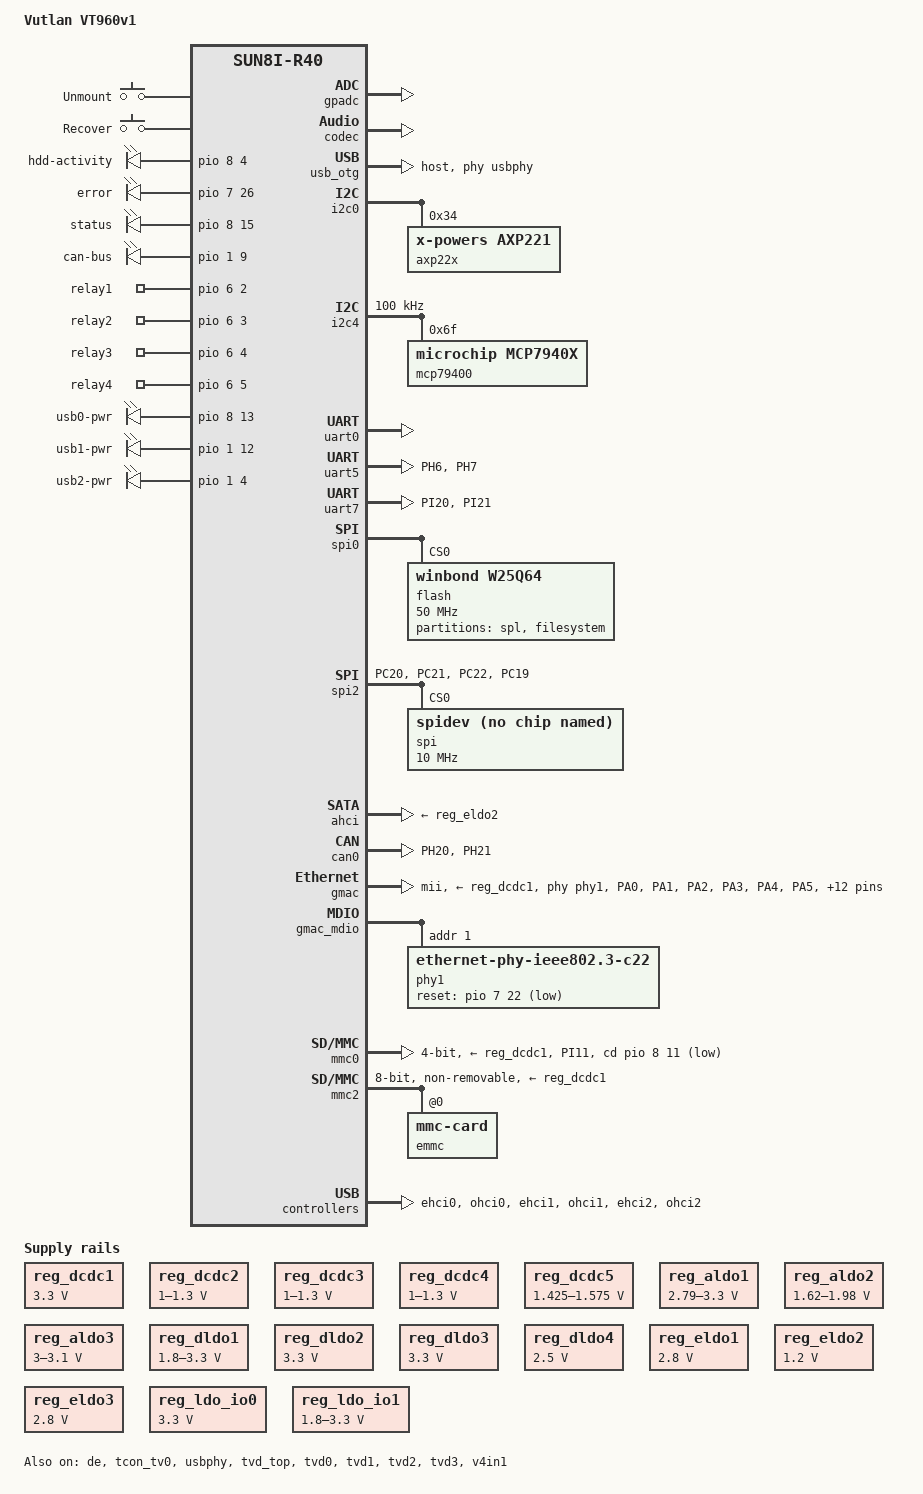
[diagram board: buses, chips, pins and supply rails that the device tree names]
/*
 * Copyright (C) 2017 Icenowy Zheng <icenowy@aosc.io>
 *
 * This file is dual-licensed: you can use it either under the terms
 * of the GPL or the X11 license, at your option. Note that this dual
 * licensing only applies to this file, and not this project as a
 * whole.
 *
 *  a) This file is free software; you can redistribute it and/or
 *     modify it under the terms of the GNU General Public License as
 *     published by the Free Software Foundation; either version 2 of the
 *     License, or (at your option) any later version.
 *
 *     This file is distributed in the hope that it will be useful,
 *     but WITHOUT ANY WARRANTY; without even the implied warranty of
 *     MERCHANTABILITY or FITNESS FOR A PARTICULAR PURPOSE.  See the
 *     GNU General Public License for more details.
 *
 * Or, alternatively,
 *
 *  b) Permission is hereby granted, free of charge, to any person
 *     obtaining a copy of this software and associated documentation
 *     files (the "Software"), to deal in the Software without
 *     restriction, including without limitation the rights to use,
 *     copy, modify, merge, publish, distribute, sublicense, and/or
 *     sell copies of the Software, and to permit persons to whom the
 *     Software is furnished to do so, subject to the following
 *     conditions:
 *
 *     The above copyright notice and this permission notice shall be
 *     included in all copies or substantial portions of the Software.
 *
 *     THE SOFTWARE IS PROVIDED "AS IS", WITHOUT WARRANTY OF ANY KIND,
 *     EXPRESS OR IMPLIED, INCLUDING BUT NOT LIMITED TO THE WARRANTIES
 *     OF MERCHANTABILITY, FITNESS FOR A PARTICULAR PURPOSE AND
 *     NONINFRINGEMENT. IN NO EVENT SHALL THE AUTHORS OR COPYRIGHT
 *     HOLDERS BE LIABLE FOR ANY CLAIM, DAMAGES OR OTHER LIABILITY,
 *     WHETHER IN AN ACTION OF CONTRACT, TORT OR OTHERWISE, ARISING
 *     FROM, OUT OF OR IN CONNECTION WITH THE SOFTWARE OR THE USE OR
 *     OTHER DEALINGS IN THE SOFTWARE.
 */

/dts-v1/;
#include "sun8i-r40.dtsi"

#include <dt-bindings/gpio/gpio.h>
#include <dt-bindings/input/input.h>

/ {
	model = "Vutlan VT960v1";
	compatible = "vutlan,vt960v1", "allwinner,sun8i-r40";

	aliases {
		ethernet0 = &gmac;
		serial0 = &uart0;
	};

	chosen {
		stdout-path = "serial0:115200n8";
	};
	
	gpadc: gpadc@1c25000 {
		compatible = "allwinner,sun8i-r40-gpadc4ch";
		reg = <0x01c25000 0x400>;
		clocks = <&ccu CLK_BUS_TS>, <&ccu CLK_TS>, <&ccu CLK_DRAM_TS>;
		resets = <&ccu RST_BUS_TS>;
		interrupts = <GIC_SPI 29 IRQ_TYPE_LEVEL_HIGH>;
		status = "okay";
	};
	
	reserved-memory {
		#address-cells = <1>;
		#size-cells = <1>;
		ranges;
		/* Address must be kept in the lower 256 MiBs of DRAM for VE. */
		default-pool {
			compatible = "shared-dma-pool";
			size = <0x6000000>;
			alloc-ranges = <0x4a000000 0x6000000>;
			reusable;
			linux,cma-default;
		};
		/* memory region for cedar video codec */
		ve_reserved: cma@0x50000000 {
			compatible = "shared-dma-pool";
			size = <0x5000000>;
			alloc-ranges = <0x50000000 0x5000000>;  /* 80M */
			reusable;
		};
	};
	
	/*
	ve: ve@01c0e000 {
		compatible = "allwinner,sunxi-cedar-ve";
		reg = <0x0 0x01c0e000 0x0 0x1000>,
		      <0x0 0x01c00000 0x0 0x10>,
		      <0x0 0x01c20000 0x0 0x800>;
		interrupts = <GIC_SPI 53 4>;
		clocks = <&clk_pll_ve>,
			 <&clk_ve>;

	};*/
	/*
	ve: video-engine@01c0e000 {
		compatible = "allwinner,sunxi-cedar";
		reg = <0x01c0e000 0x1000>;
		memory-region = <&ve_reserved>;

		clocks = <&ccu CLK_BUS_VE>, <&ccu CLK_VE>,
			<&ccu CLK_DRAM_VE>;
		clock-names = "ahb", "mod", "ram";
		assigned-clocks = <&ccu CLK_VE>;
		assigned-clock-rates = <320000000>;

		resets = <&ccu RST_BUS_VE>;
		interrupts = <GIC_SPI 53 IRQ_TYPE_LEVEL_HIGH>;			
	};*/
	
	tvd_top: tvd-top@01c30000 {
		compatible = "allwinner,sunxi-tvd";
		reg = <0x01c30000 0x800>;
		clocks = <&ccu CLK_BUS_TVD_TOP>, <&ccu CLK_DRAM_TVD>;
		resets = <&ccu RST_BUS_TVD_TOP>;
		interrupts = <GIC_SPI 61 0x0104>;
		tvd-number = <1>;
		tvds = <&tvd0>;
		status = "okay";			
	};	
	tvd0: tvd0@01c31000 {
		compatible = "allwinner,sunxi-tvd0";
		reg = <0x01c31000 0x1000>;
		interrupts = <GIC_SPI 97 0x0104>;
		clocks = <&ccu CLK_TVD0>, <&ccu CLK_BUS_TVD0>;
		resets = <&ccu RST_BUS_TVD0>;
		tvd_used = <1>;
		tvd_if = <0>;
		status = "okay";
	};
	tvd1: tvd1@01c32000 {
		compatible = "allwinner,sunxi-tvd1";
		reg = <0x01c32000 0x1000>;
		interrupts = <GIC_SPI 98 0x0104>;
		clocks = <&ccu CLK_TVD1>, <&ccu CLK_BUS_TVD1>;
		resets = <&ccu RST_BUS_TVD1>;
		tvd_used = <1>;
		tvd_if = <0>;
		status = "okay";
	};
	tvd2: tvd2@01c33000 {
		compatible = "allwinner,sunxi-tvd2";
		reg = <0x01c33000 0x1000>;
		interrupts = <GIC_SPI 99 0x0104>;
		clocks = <&ccu CLK_TVD2>, <&ccu CLK_BUS_TVD2>;
		resets = <&ccu RST_BUS_TVD2>;
		tvd_used = <1>;
		tvd_if = <0>;
		status = "okay";
	};
	tvd3: tvd3@01c34000 {
		compatible = "allwinner,sunxi-tvd3";
		reg = <0x01c34000 0x1000>;
		interrupts = <GIC_SPI 100 0x0104>;
		clocks = <&ccu CLK_TVD3>, <&ccu CLK_BUS_TVD3>;
		resets = <&ccu RST_BUS_TVD3>;
		tvd_used = <1>;
		tvd_if = <0>;
		status = "okay";
	};
	
	v4in1: v4in1@01c30000 {
		compatible = "allwinner,sunxi-v4in1";
		reg = <0x01c30000 0x01000>,/*tvd top*/
			  <0x01c31000 0x01000>,/*tvd0*/
			  <0x01c32000 0x01000>,/*tvd1*/
			  <0x01c33000 0x01000>,/*tvd2*/
			  <0x01c34000 0x01000>;/*tvd3*/
		clocks = <&ccu CLK_BUS_TVD_TOP>, <&ccu CLK_DRAM_TVD>,
				<&ccu CLK_TVD0>, <&ccu CLK_TVD1>, <&ccu CLK_TVD2>, <&ccu CLK_TVD3>;
		resets = <&ccu RST_BUS_TVD_TOP>,
				<&ccu RST_BUS_TVD0>, <&ccu RST_BUS_TVD1>, <&ccu RST_BUS_TVD2>, <&ccu RST_BUS_TVD3>;		
		interrupts = <GIC_SPI 97 0x0104>;
		status = "okay";
	};

	codec: codec@1c22c00 {
		#sound-dai-cells = <0>;
		compatible = "allwinner,sun8i-r40-codec";
		reg = <0x01c22c00 0x300>;
		interrupts = <GIC_SPI 30 IRQ_TYPE_LEVEL_HIGH>;
		clocks = <&ccu CLK_BUS_CODEC>, <&ccu CLK_AC_DIG>; 
		clock-names = "apb", "codec";
		resets = <&ccu RST_BUS_CODEC>;
		dmas = <&dma 19>, <&dma 19>;
		dma-names = "rx", "tx";
		status = "okay";

		allwinner,audio-routing =
			"Headphone", "HP",
			"Headphone", "HPCOM",
			"MIC1", "Mic",
			"MIC2", "Mic",
			"Mic",  "MBIAS",
			"LINEIN", "Line In";		
		allwinner,codec-analog-controls = <&codec_analog>;
	};	
	codec_analog: codec-analog@1c22f00 {
		compatible = "allwinner,sun8i-r40-codec-analog";
		reg = <0x01c22f00 0x4>;
	};

		/* bsp 4.4 */
//	codec:codec@0x01c22c00 {
//		compatible = "allwinner,sunxi-internal-codec";
//		reg = <0x01c22c00 0x2bc>,/*digital baseadress*/
//		      <0x01c22f00 0x4>;/*analog baseadress*/
//		clocks = <&clk_pll_audio>,<&clk_adda>;
//		headphonevol =  <0x3b>;
//		spkervol =  <0x1b>;
//		maingain =  <0x4>;
//		hp_dirused = <0x0>;
//		pa_sleep_time = <0x15e>;
//		status = "okay";
//	};

	lradc: lradc@1c24400 {
		compatible = "allwinner,sun4i-a10-lradc-keys";
		reg = <0x01c24400 0x100>;
		interrupts = <GIC_SPI 31 IRQ_TYPE_LEVEL_HIGH>;
		vref-supply = <&reg_aldo3>;
		status = "okay";
			
		button-248 {
			label = "Unmount";
			linux,code = <KEY_VOLUMEDOWN>;
			channel = <0>;
			voltage = <190476>;	/* 248211*2/3 */
		};	
		button-1169 {
			label = "Recover";
			linux,code = <KEY_ESC>;
			channel = <0>;
			voltage = <1111111>; /* 1169727*2/3 */
		};
	};

	usb_otg: usb@1c13000 {
		compatible = "allwinner,sun8i-r40-musb";
		reg = <0x01c13000 0x0400>;
		clocks = <&ccu CLK_BUS_OTG>;
		resets = <&ccu RST_BUS_OTG>;
		interrupts = <GIC_SPI 38 IRQ_TYPE_LEVEL_HIGH>;
		interrupt-names = "mc";
		phys = <&usbphy 0>;
		phy-names = "usb";
		extcon = <&usbphy 0>;
		allwinner,sram = <&otg_sram 1>;
		status = "disabled";
	};

	leds {
		compatible = "gpio-leds";
		
		hdd {
			label = "hdd-activity";
			gpios = <&pio 8 4 GPIO_ACTIVE_HIGH>; /* PI4 */
			/*linux,default-trigger = "disk-activity";*/
		};

		err {
			label = "error";
			gpios = <&pio 7 26 GPIO_ACTIVE_HIGH>; /* PH26 */
		};

		status {
			label = "status";
			gpios = <&pio 8 15 GPIO_ACTIVE_HIGH>; /* PI15 */
			default-state = "on";
			linux,default-trigger = "heartbeat";
		};

		can-bus {
			label = "can-bus";
			gpios = <&pio 1 9 GPIO_ACTIVE_HIGH>; /* PB9 */
		};

		relay1 {
			label = "relay1";
			gpios = <&pio 6 2 GPIO_ACTIVE_HIGH>; /* PG2 */
		};
		relay2 {
			label = "relay2";
			gpios = <&pio 6 3 GPIO_ACTIVE_HIGH>; /* PG3 */
		};
		relay3 {
			label = "relay3";
			gpios = <&pio 6 4 GPIO_ACTIVE_HIGH>; /* PG4 */
		};
		relay4 {
			label = "relay4";
			gpios = <&pio 6 5 GPIO_ACTIVE_HIGH>; /* PG5 */
		};

		usb0-pwr {
			label = "usb0-pwr";  /* usb 0 (OTG) */
			gpios = <&pio 8 13 GPIO_ACTIVE_HIGH>; /* PI13 */
			default-state = "on";
		};
		usb1-pwr {
			label = "usb1-pwr";  /* usb 1 */
			gpios = <&pio 1 12 GPIO_ACTIVE_HIGH>; /* PB12 */
			default-state = "on";
		};
		usb2-pwr {
			label = "usb2-pwr";  /* internal lte modem */
			gpios = <&pio 1 4 GPIO_ACTIVE_HIGH>; /* PB4 */
			default-state = "off";
		};
	};

	cpu0_opp_table: opp_table0 {
		compatible = "operating-points-v2";
		opp-shared;

		opp-528000000 {
			opp-hz = /bits/ 64 <528000000>;
			opp-microvolt = <1000000>;
			clock-latency-ns = <244144>; /* 8 32k periods */
		};

		opp-720000000 {
			opp-hz = /bits/ 64 <720000000>;
			opp-microvolt = <1000000>;
			clock-latency-ns = <244144>; /* 8 32k periods */
		};

		opp-912000000 {
			opp-hz = /bits/ 64 <912000000>;
			opp-microvolt = <1100000 1100000 1300000>;
			clock-latency-ns = <244144>; /* 8 32k periods */
		};

		opp-1008000000 {
			opp-hz = /bits/ 64 <1008000000>;
			opp-microvolt = <1160000 1160000 1300000>;
			clock-latency-ns = <244144>; /* 8 32k periods */
		};

		opp-1104000000 {
			opp-hz = /bits/ 64 <1104000000>;
			opp-microvolt = <1240000 1240000 1300000>;
			clock-latency-ns = <244144>; /* 8 32k periods */
		};

		opp-1200000000 {
			opp-hz = /bits/ 64 <1200000000>;
			opp-microvolt = <1300000>;
			clock-latency-ns = <244144>; /* 8 32k periods */
		};
	};
};

&cpu0 {
	clocks = <&ccu CLK_CPU>;
	clock-names = "cpu";
	cpu-supply = <&reg_dcdc2>;
	operating-points-v2 = <&cpu0_opp_table>;
	clock-frequency = <912000000>;
};
&cpu1 {
	clocks = <&ccu CLK_CPU>;
	clock-names = "cpu";
	cpu-supply = <&reg_dcdc2>;
	operating-points-v2 = <&cpu0_opp_table>;
	clock-frequency = <912000000>;
};
&cpu2 {
	clocks = <&ccu CLK_CPU>;
	clock-names = "cpu";
	cpu-supply = <&reg_dcdc2>;
	operating-points-v2 = <&cpu0_opp_table>;
	clock-frequency = <912000000>;
};
&cpu3 {
	clocks = <&ccu CLK_CPU>;
	clock-names = "cpu";
	cpu-supply = <&reg_dcdc2>;
	operating-points-v2 = <&cpu0_opp_table>;
	clock-frequency = <912000000>;
};

&i2c0 {
	status = "okay";

	axp22x: pmic@34 {
		compatible = "x-powers,axp221";
		reg = <0x34>;
		interrupt-parent = <&nmi_intc>;
		interrupts = <0 IRQ_TYPE_LEVEL_LOW>;
	};
};

&i2c4 {
	clock-frequency = <100000>;
	status = "okay";
	
	mcp79400: mcp79400@6f {
		compatible = "microchip,mcp7940x";
		reg = <0x6f>;
	};
	
	/* TODO: vtx16, vtx40 */
};

/* console */ 
&uart0 {
	pinctrl-names = "default";
	pinctrl-0 = <&uart0_pb_pins>;
	status = "okay";
};

/* rs485 */
&uart5 {
	pinctrl-names = "default";
	pinctrl-0 = <&uart5_pins_vt960v1>;
	status = "okay";
};

/* 1-wire */
&uart7 {
	pinctrl-names = "default";
	pinctrl-0 = <&uart7_pins_vt960v1>;
	status = "okay";
};

&spi0 {
	pinctrl-names = "default";
	pinctrl-0 = <&spi0_cs0_pc_pin>, <&spi0_pc_pins>;
	status = "okay";
	dmas = <&dma 24>, <&dma 24>;
    dma-names = "rx", "tx";

	flash: m25p80@0 {
		compatible = "winbond,w25q64", "jedec,spi-nor";
		#address-cells = <1>;
		#size-cells = <1>;
		reg = <0>; /* Chip select 0 */	
		spi-max-frequency = <50000000>;

		partition@0 {
			label = "spl";
			reg = <0x0 0x10000>;	/* 64KB */
		};
		partition@10000 {
			label = "filesystem";
			reg = <0x10000 0>;
		};
	};
};
&spi2 {
	pinctrl-names = "default";
	pinctrl-0 = <&spi2_pins_vt960v1>, <&spi2_cs_pin_vt960v1>;
	status = "okay";
	dmas = <&dma 26>, <&dma 26>;
    dma-names = "rx", "tx";

	spi@0 {
		compatible = "linux,spidev";
		reg = <0>;
		spi-max-frequency = <10000000>;
	};
};

&ahci {
	ahci-supply = <&reg_dldo4>;
	phy-supply = <&reg_eldo2>; 
	status = "okay";
};

&de {
	status = "okay";
};

&tcon_tv0 {
	status = "okay";
};

&can0 {
	pinctrl-names = "default";
	pinctrl-0 = <&can_ph_pins>;
	status = "okay";
};

#include "axp22x.dtsi"

&reg_dcdc1 {
	regulator-always-on;
	regulator-min-microvolt = <3300000>;
	regulator-max-microvolt = <3300000>;
	regulator-name = "vcc-3v3";
};

&reg_dcdc2 {
	regulator-always-on;
	regulator-min-microvolt = <1000000>;
	regulator-max-microvolt = <1300000>;
	regulator-name = "vcc-cpu";
};

&reg_dcdc3 {
	regulator-always-on;
	regulator-min-microvolt = <1000000>;
	regulator-max-microvolt = <1300000>;
	regulator-name = "vdd-sys";
};

&reg_dcdc4 {
	regulator-always-on;
	regulator-min-microvolt = <1000000>;
	regulator-max-microvolt = <1300000>;
	regulator-name = "dcdc4";
};

&reg_dcdc5 {
	regulator-always-on;
	/* ddr3 Supply voltage operating range */
	regulator-min-microvolt = <1425000>;
	regulator-max-microvolt = <1575000>;
	regulator-name = "vcc-dram";
};

/* vcc-tvin vcc-25 */
&reg_aldo1 {
	regulator-always-on;
	regulator-min-microvolt = <2790000>;
	regulator-max-microvolt = <3300000>;
	regulator-name = "vcc-tvin";
};

/* vcc-pc vcc-emmcvq18 */
&reg_aldo2 {
	regulator-always-on;
	regulator-min-microvolt = <1620000>;
	regulator-max-microvolt = <1980000>;
	regulator-name = "vcc-emmcvq18";
};

&reg_aldo3 {
	regulator-always-on;
	regulator-min-microvolt = <3000000>;
	regulator-max-microvolt = <3100000>;
	regulator-name = "avcc";
};

/* vcc-io-wifi vcc-pg */
&reg_dldo1 {
	regulator-always-on;
	regulator-min-microvolt = <1800000>;
	regulator-max-microvolt = <3300000>;
	regulator-name = "vcc-wifi-io-vcc-pg";
};

&reg_dldo2 {
	regulator-always-on;
	regulator-min-microvolt = <3300000>;
	regulator-max-microvolt = <3300000>;
	regulator-name = "vcc-wifi";
};

&reg_dldo3 {
	regulator-always-on;
	regulator-min-microvolt = <3300000>;
	regulator-max-microvolt = <3300000>;
	regulator-name = "wlan-power-ext";
};

/* vcc-sata-25 vcc-pf */
&reg_dldo4 {
	regulator-always-on;
	regulator-min-microvolt = <2500000>;
	regulator-max-microvolt = <2500000>;
	regulator-name = "vcc-sata25-vcc-pf";
};

&reg_eldo1 {
	regulator-always-on;
	regulator-min-microvolt = <2800000>;
	regulator-max-microvolt = <2800000>;
	regulator-name = "isp-dvdd";
};

/* vcc-sata-12 */
&reg_eldo2 {
	regulator-always-on;
	regulator-min-microvolt = <1200000>;
	regulator-max-microvolt = <1200000>;
	regulator-name = "vcc-sata12";
};

&reg_eldo3 {
	regulator-always-on;
	regulator-min-microvolt = <2800000>;
	regulator-max-microvolt = <2800000>;
	regulator-name = "vcc-pe";
};

&reg_ldo_io0 {
	regulator-always-on;
	regulator-min-microvolt = <3300000>;
	regulator-max-microvolt = <3300000>;
	regulator-name = "vcc-ctp";
	status = "okay";
};

&reg_ldo_io1 {
	regulator-always-on;
	regulator-min-microvolt = <1800000>;
	regulator-max-microvolt = <3300000>;
	regulator-name = "vcc-i2s-18";
	status = "okay";
};

&reg_dc1sw {
	regulator-always-on;
	regulator-name = "vcc-lcd";
	status = "okay";
};

&ac_power_supply {
	status = "okay";
};



&pio {
	pinctrl-names = "default";
	pinctrl-0 = <&clk_out_a_pin>;

	 
	mmc0_cd_pin_vt960v1: mmc0_cd_pin_vt960v1@0 {
		pins = "PI11";
		function = "gpio_in";
		bias-pull-up;
	};
	
	uart5_pins_vt960v1: uart5_pins_vt960v1@0 {
		pins = "PH6", "PH7";
		function = "uart5";
	};
	uart7_pins_vt960v1: uart7_pins_vt960v1@0 {
		pins = "PI20", "PI21";
		function = "uart7";		
	};

	spi2_pins_vt960v1: spi2_pins_vt960v1@0 {
		pins = "PC20", "PC21", "PC22";
		function = "spi2";
	};
	spi2_cs_pin_vt960v1: spi2_cs_pin_vt960v1@0 {
		pins = "PC19";
		function = "spi2";
	};
	
	can_ph_pins: can-ph-pins {
		pins = "PH20", "PH21";
		function = "can";
	};

	usb0_id_detect_pin: usb0_id_detect_pin@0 {
		pins = "PI10";
		function = "gpio_in";
		bias-pull-up;
	};
	usb0_vbus_detect_pin: usb0_vbus_detect_pin@0 {
		pins = "PH17";
		function = "gpio_in";
	};

	gmac_pins_mii_a: gmac_pins_mii_a@0 {
		pins = "PA0", "PA1", "PA2",
		       "PA3", "PA4", "PA5", "PA6",
		       "PA7", "PA8", "PA9", "PA10",
		       "PA11", "PA12", "PA13", "PA14",
		       "PA15", "PA16", "PA17";
		function = "gmac";
		drive-strength = <30>;
	};
};

&gmac {
	pinctrl-names = "default";
	pinctrl-0 = <&gmac_pins_mii_a>;
	phy-handle = <&phy1>;
	phy-mode = "mii";
	phy-supply = <&reg_dcdc1>;
	status = "okay";
};
&gmac_mdio {
	phy1: ethernet-phy@1 {
		compatible = "ethernet-phy-ieee802.3-c22";
		reg = <1>;
		max-speed = <100>;
		reset-gpios = <&pio 7 22 GPIO_ACTIVE_LOW>; /* PH22 */
		reset-assert-us = <10000>;
		reset-deassert-us = <25000>;
	};
};

/* mmc0 card detect - ball V24 : gpio PI11 */
&mmc0 {
	pinctrl-names = "default";
	pinctrl-0 = <&mmc0_pins>, <&mmc0_cd_pin_vt960v1>;
	vmmc-supply = <&reg_dcdc1>;
	bus-width = <4>;
	cd-gpios = <&pio 8 11 GPIO_ACTIVE_HIGH>; 
	cd-inverted;
	no-1-8-v;
	status = "okay";
};

&mmc2 { 
	vmmc-supply = <&reg_dcdc1>;
	vqmmc-supply = <&reg_aldo2>;
	bus-width = <8>;
	non-removable;
	cap-mmc-hw-reset;	
	status = "okay";
	
	emmc: emmc@0 {
		reg = <0>;
		compatible = "mmc-card";
	};
};


&ehci0 {
	status = "okay";
};
&ohci0 {
	status = "okay";
};

&usb_otg {
	dr_mode = "host"; //"peripheral";
	status = "okay";
};

&ehci1 {
	status = "okay";
};
&ohci1 {
	status = "okay";
};

/* internal LTE modem */
&ehci2 {
	status = "okay";
};
&ohci2 {
	status = "okay";
};

&usb_power_supply {
	status = "okay";
};

&usbphy {
	pinctrl-names = "default";
	pinctrl-0 = <&usb0_id_detect_pin>, <&usb0_vbus_detect_pin>;

	usb0_id_det-gpio = <&pio 7 21 GPIO_ACTIVE_HIGH>; /* PH21 */
	usb0_vbus_det-gpios = <&pio 7 17 GPIO_ACTIVE_HIGH>; /* PH17 */
	//usb0_vbus-supply = <&reg_usb0_pwr>;
	usb0_vbus_power-supply = <&usb_power_supply>;

	//usb1_vbus-supply = <&reg_usb1_drv>;
	//usb2_vbus-supply = <&reg_usb2_drv>;

	status = "okay";
};
